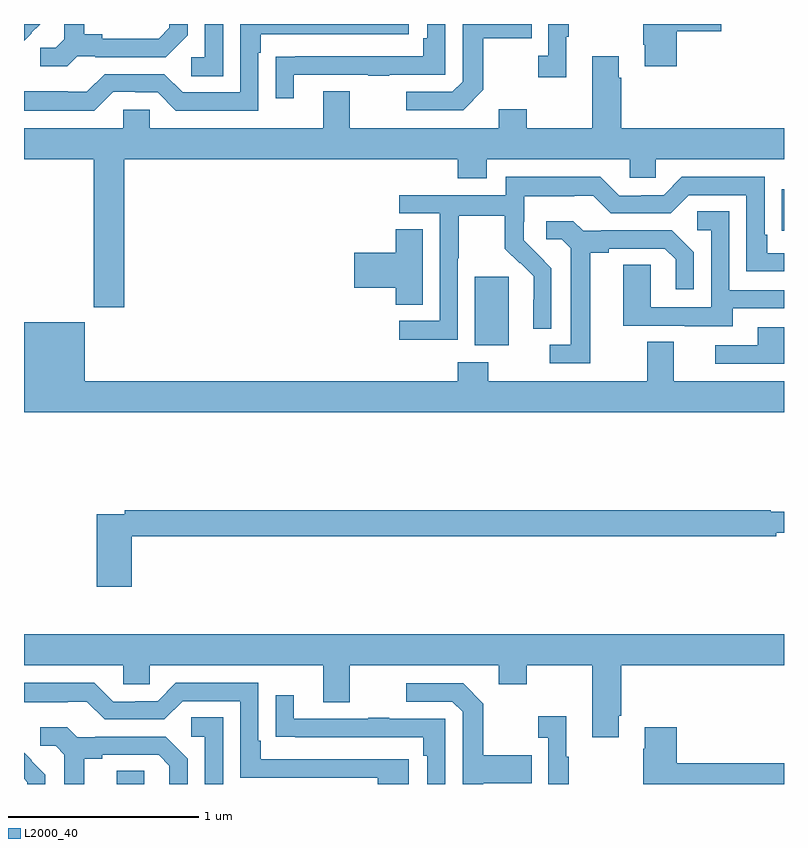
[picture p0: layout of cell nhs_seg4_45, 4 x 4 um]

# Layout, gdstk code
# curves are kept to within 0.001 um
import gdstk
lib = gdstk.Library(unit=1e-6, precision=1e-09)
def R(c, l, rs):  # rectangles x0, y0, x1, y1
    for r in rs: c.add(gdstk.rectangle(r[:2], r[2:], *l))
def P(c, l, *ps):  # polygons
    for p in ps: c.add(gdstk.Polygon(p, *l))
L2000_40 = (2000, 40)

nhs_seg4_45 = lib.new_cell('nhs_seg4_45')
R(nhs_seg4_45, L2000_40, [(113.489,758.9,113.634,758.969), (115.373,761.21,115.552,761.571), (116.989,761.812,117,762.031)])
P(nhs_seg4_45, L2000_40, [(114.421,762.633),(114.811,762.633),(114.811,762.628),(114.923,762.628),(114.923,762.633),(115.218,762.633),(115.218,762.9),(115.122,762.9),(115.122,762.826),(115.102,762.826),(115.102,762.729),(114.427,762.729),(114.427,762.728),(114.325,762.728),(114.325,762.51),(114.421,762.51)],
  [(113.28,762.729),(113.374,762.729),(113.374,762.726),(113.746,762.726),(113.862,762.842),(113.862,762.9),(113.765,762.9),(113.765,762.879),(113.708,762.822),(113.413,762.822),(113.413,762.845),(113.317,762.845),(113.317,762.9),(113.213,762.9),(113.213,762.821),(113.166,762.774),(113.085,762.774),(113.085,762.677),(113.228,762.677)],
  [(115.855,762.833),(115.867,762.833),(115.867,762.9),(115.758,762.9),(115.758,762.734),(115.707,762.734),(115.707,762.621),(115.855,762.621)],
  [(113.469,762.543),(113.585,762.543),(113.585,762.54),(113.703,762.54),(113.799,762.444),(114.234,762.444),(114.234,762.749),(114.247,762.749),(114.247,762.846),(115.024,762.846),(115.024,762.9),(114.138,762.9),(114.138,762.54),(113.835,762.54),(113.739,762.636),(113.424,762.636),(113.331,762.543),(113.231,762.543),(113.231,762.547),(113,762.547),(113,762.443),(113.369,762.443)],
  [(113.04,762.852),(113.039,762.853),(113.086,762.9),(113,762.9),(113,762.812)],
  [(115.417,762.553),(115.417,762.826),(115.673,762.826),(115.673,762.9),(115.308,762.9),(115.308,762.597),(115.254,762.543),(115.011,762.543),(115.011,762.447),(115.311,762.447)],
  [(114.048,762.9),(113.952,762.9),(113.952,762.726),(113.88,762.726),(113.88,762.625),(114.048,762.625)],
  [(116.435,762.863),(116.671,762.863),(116.671,762.9),(116.26,762.9),(116.26,762.79),(116.267,762.79),(116.267,762.678),(116.435,762.678)],
  [(113.528,762.188),(115.283,762.188),(115.283,762.089),(115.435,762.089),(115.435,762.188),(116.187,762.188),(116.187,762.09),(116.325,762.09),(116.325,762.188),(117,762.188),(117,762.352),(116.144,762.352),(116.144,762.617),(116.131,762.617),(116.131,762.73),(115.991,762.73),(115.991,762.352),(115.647,762.352),(115.647,762.451),(115.499,762.451),(115.499,762.352),(114.715,762.352),(114.715,762.547),(114.575,762.547),(114.575,762.352),(113.661,762.352),(113.661,762.45),(113.523,762.45),(113.523,762.352),(113,762.352),(113,762.188),(113.368,762.188),(113.368,761.409),(113.528,761.409)],
  [(115.284,761.668),(115.287,761.668),(115.287,761.892),(115.531,761.892),(115.531,761.717),(115.608,761.64),(115.611,761.643),(115.682,761.573),(115.682,761.45),(115.68,761.45),(115.68,761.296),(115.776,761.296),(115.776,761.614),(115.63,761.762),(115.63,761.859),(115.632,761.859),(115.632,761.993),(115.895,761.993),(115.895,761.997),(115.995,761.997),(116.088,761.904),(116.403,761.904),(116.499,762),(116.802,762),(116.802,761.598),(117,761.598),(117,761.694),(116.911,761.694),(116.911,761.791),(116.898,761.791),(116.898,762.096),(116.463,762.096),(116.367,762),(116.249,762),(116.249,761.997),(116.133,761.997),(116.033,762.097),(115.536,762.097),(115.536,762),(114.975,762),(114.975,761.904),(115.188,761.904),(115.188,761.337),(114.975,761.337),(114.975,761.239),(115.284,761.239)],
  [(116.731,761.403),(117,761.403),(117,761.499),(116.712,761.499),(116.712,761.915),(116.544,761.915),(116.544,761.814),(116.616,761.814),(116.616,761.409),(116.298,761.409),(116.298,761.633),(116.153,761.633),(116.153,761.313),(116.477,761.313),(116.477,761.309),(116.731,761.309)],
  [(115.981,761.696),(116.077,761.696),(116.077,761.718),(116.372,761.718),(116.429,761.661),(116.429,761.505),(116.526,761.505),(116.526,761.698),(116.41,761.814),(116.038,761.814),(116.038,761.811),(115.944,761.811),(115.892,761.863),(115.749,761.863),(115.749,761.766),(115.83,761.766),(115.877,761.719),(115.877,761.211),(115.767,761.211),(115.767,761.115),(115.981,761.115)],
  [(115.099,761.819),(114.956,761.819),(114.956,761.696),(114.738,761.696),(114.738,761.513),(114.956,761.513),(114.956,761.422),(115.099,761.422)],
  [(117,761.02),(116.419,761.02),(116.419,761.228),(116.279,761.228),(116.279,761.02),(115.443,761.02),(115.443,761.119),(115.283,761.119),(115.283,761.02),(113.32,761.02),(113.32,761.329),(113,761.329),(113,760.856),(117,760.856)],
  [(117,761.304),(116.861,761.304),(116.861,761.208),(116.637,761.208),(116.637,761.112),(117,761.112)],
  [(113.567,760.204),(116.96,760.204),(116.96,760.223),(117,760.223),(117,760.333),(116.93,760.333),(116.93,760.34),(113.53,760.34),(113.53,760.32),(113.384,760.32),(113.384,759.939),(113.567,759.939)],
  [(116.131,759.259),(116.144,759.259),(116.144,759.524),(117,759.524),(117,759.688),(113,759.688),(113,759.524),(113.523,759.524),(113.523,759.426),(113.661,759.426),(113.661,759.524),(114.575,759.524),(114.575,759.33),(114.715,759.33),(114.715,759.524),(115.499,759.524),(115.499,759.425),(115.647,759.425),(115.647,759.524),(115.991,759.524),(115.991,759.147),(116.131,759.147)],
  [(115.024,759.03),(114.247,759.03),(114.247,759.127),(114.234,759.127),(114.234,759.432),(113.799,759.432),(113.703,759.336),(113.585,759.336),(113.585,759.333),(113.469,759.333),(113.369,759.433),(113,759.433),(113,759.329),(113.231,759.329),(113.231,759.333),(113.331,759.333),(113.424,759.24),(113.739,759.24),(113.835,759.336),(114.138,759.336),(114.138,758.934),(114.863,758.934),(114.863,758.9),(115.024,758.9)],
  [(115.417,758.903),(115.673,758.903),(115.673,759.051),(115.417,759.051),(115.417,759.323),(115.311,759.429),(115.011,759.429),(115.011,759.333),(115.254,759.333),(115.308,759.279),(115.308,758.9),(115.417,758.9)],
  [(115.218,759.243),(114.923,759.243),(114.923,759.248),(114.811,759.248),(114.811,759.243),(114.421,759.243),(114.421,759.367),(114.325,759.367),(114.325,759.148),(114.427,759.148),(114.427,759.147),(115.102,759.147),(115.102,759.05),(115.122,759.05),(115.122,758.9),(115.218,758.9)],
  [(115.867,759.043),(115.855,759.043),(115.855,759.256),(115.707,759.256),(115.707,759.143),(115.758,759.143),(115.758,758.9),(115.867,758.9)],
  [(114.048,759.251),(113.88,759.251),(113.88,759.15),(113.952,759.15),(113.952,758.9),(114.048,758.9)],
  [(117,759.008),(116.435,759.008),(116.435,759.199),(116.267,759.199),(116.267,759.086),(116.26,759.086),(116.26,758.9),(117,758.9)],
  [(113.317,759.032),(113.413,759.032),(113.413,759.054),(113.708,759.054),(113.765,758.997),(113.765,758.9),(113.862,758.9),(113.862,759.034),(113.746,759.15),(113.374,759.15),(113.374,759.147),(113.28,759.147),(113.228,759.199),(113.085,759.199),(113.085,759.102),(113.166,759.102),(113.213,759.055),(113.213,758.9),(113.317,758.9)],
  [(113.112,758.95),(113.039,759.023),(113.04,759.024),(113,759.064),(113,758.927),(113.018,758.909),(113.018,758.9),(113.112,758.9)])

lib.write_gds('nhs_seg4_45.gds')
